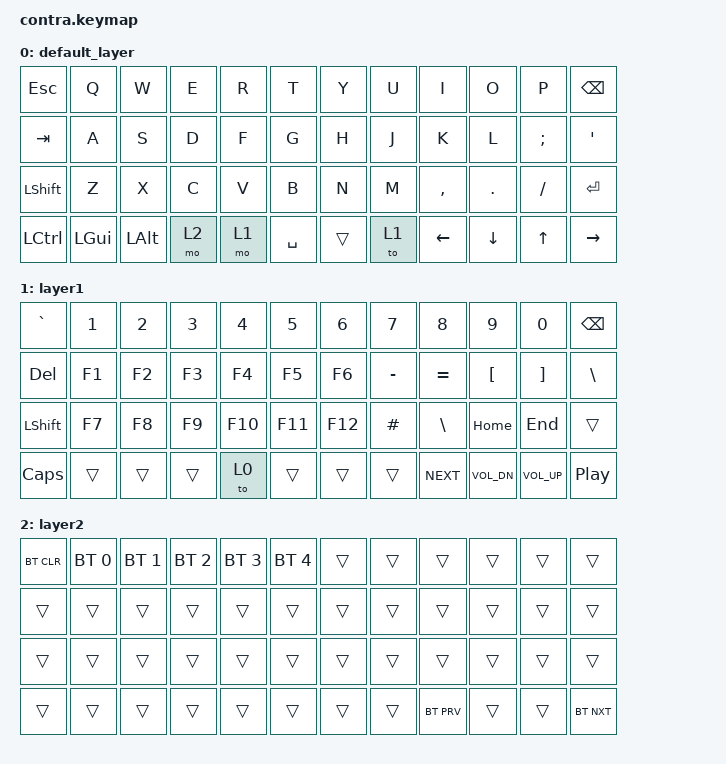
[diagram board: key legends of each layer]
/*
 * Copyright (c) 2021 The ZMK Contributors
 *
 * SPDX-License-Identifier: MIT
 */

#include <behaviors.dtsi>
#include <dt-bindings/zmk/keys.h>
#include <dt-bindings/zmk/bt.h>

#define DEFAULT  0
#define NUM_MODS 1
#define BT_CTRL  2

/ {
   keymap {
        compatible = "zmk,keymap";

        default_layer {
          // -----------------------------------------------------------------------------------------
          // |  ESC  |  Q   |  W   |  E   |  R   |  T   |   Y   |  U    |  I   |  O   |   P   | BSPC  |
          // |  TAB  |  A   |  S   |  D   |  F   |  G   |   H   |  J    |  K   |  L   |   ;   |  '    |
          // | SHIFT |  Z   |  X   |  C   |  V   |  B   |   N   |  M    |  ,   |  .   |   /   |  RET  |
          // | LCTL  | LGUI | LALT | FN   | LOWR |     SPACE    |  RAIS | LARW | DARW | UARW  |  RARW |
            bindings = <
    &kp ESC  &kp Q    &kp W &kp E &kp R &kp T  &kp Y   &kp U  &kp I    &kp O   &kp P    &kp BSPC
    &kp TAB  &kp A    &kp S &kp D &kp F &kp G  &kp H   &kp J  &kp K    &kp L   &kp SEMI &kp SQT
    &kp LSHFT &kp Z    &kp X &kp C &kp V &kp B  &kp N   &kp M  &kp COMMA &kp DOT &kp FSLH &kp RET
    &kp LCTRL &kp LGUI &kp LALT &mo 2  &mo 1 &kp SPACE  &trans    &to 1 &kp LEFT &kp DOWN &kp UP &kp RIGHT
            >;
        };

        layer1 {
            bindings = <
    &kp GRAVE &kp N1 &kp N2 &kp N3 &kp N4 &kp N5 &kp N6 &kp N7 &kp N8 &kp N9 &kp N0 &kp BSPC
    &kp DEL &kp F1 &kp F2 &kp F3 &kp F4 &kp F5 &kp F6 &kp MINUS &kp EQUAL &kp LBKT &kp RBKT &kp BSLH
    &kp LSHFT &kp F7 &kp F8 &kp F9 &kp F10 &kp F11 &kp F12 &kp HASH &kp BSLH &kp HOME &kp END &trans
    &kp CAPS &trans &trans &trans &to 0 &trans &trans &trans &kp C_NEXT &kp C_VOL_DN &kp C_VOL_UP &kp C_PP
            >;
        };

        layer2 {
            bindings = <
    &bt BT_CLR &bt BT_SEL 0 &bt BT_SEL 1 &bt BT_SEL 2 &bt BT_SEL 3 &bt BT_SEL 4 &trans    &trans    &trans     &trans     &trans   &trans
    &trans     &trans       &trans       &trans       &trans       &trans       &trans    &trans    &trans     &trans     &trans   &trans
    &trans     &trans       &trans       &trans       &trans       &trans       &trans    &trans    &trans     &trans     &trans   &trans
    &trans     &trans       &trans       &trans       &trans       &trans       &trans    &trans    &bt BT_PRV &trans     &trans   &bt BT_NXT
            >;
        };
    };
};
